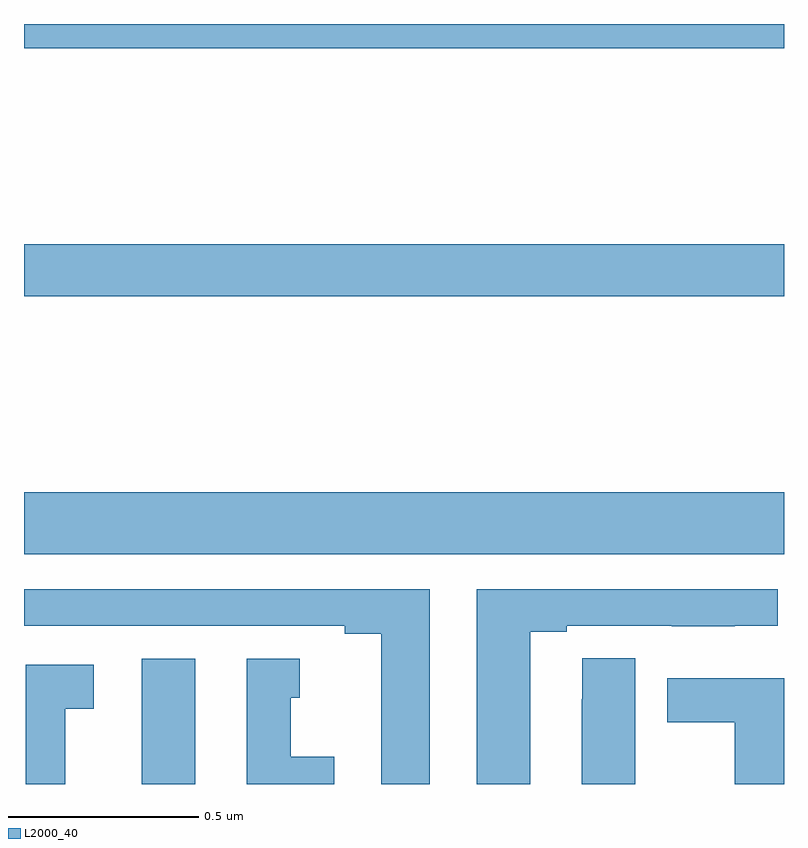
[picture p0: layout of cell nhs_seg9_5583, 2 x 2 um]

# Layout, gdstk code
import gdstk
lib = gdstk.Library(unit=1e-6, precision=1e-09)
def R(c, l, rs):  # rectangles x0, y0, x1, y1
    for r in rs: c.add(gdstk.rectangle(r[:2], r[2:], *l))
def P(c, l, *ps):  # polygons
    for p in ps: c.add(gdstk.Polygon(p, *l))
L2000_40 = (2000, 40)

nhs_seg9_5583 = lib.new_cell('nhs_seg9_5583')
R(nhs_seg9_5583, L2000_40, [(181.31,1178.5,181.45,1178.83), (181,1179.104,183,1179.268), (181,1179.784,183,1179.92), (181,1180.436,183,1180.5)])
P(nhs_seg9_5583, L2000_40, [(182.068,1179.012),(181,1179.012),(181,1178.916),(181.844,1178.916),(181.844,1178.896),(181.94,1178.896),(181.94,1178.5),(182.068,1178.5)],
  [(182.332,1178.901),(182.428,1178.901),(182.428,1178.916),(182.704,1178.916),(182.704,1178.915),(182.87,1178.915),(182.87,1178.916),(182.983,1178.916),(182.983,1179.012),(182.192,1179.012),(182.192,1178.5),(182.332,1178.5)],
  [(182.608,1178.831),(182.469,1178.831),(182.469,1178.723),(182.468,1178.723),(182.468,1178.5),(182.608,1178.5)],
  [(181.816,1178.572),(181.702,1178.572),(181.702,1178.727),(181.726,1178.727),(181.726,1178.83),(181.586,1178.83),(181.586,1178.5),(181.816,1178.5)],
  [(181.108,1178.698),(181.183,1178.698),(181.183,1178.814),(181.004,1178.814),(181.004,1178.5),(181.108,1178.5)],
  [(183,1178.778),(182.693,1178.778),(182.693,1178.662),(182.87,1178.662),(182.87,1178.5),(183,1178.5)])

lib.write_gds('nhs_seg9_5583.gds')
